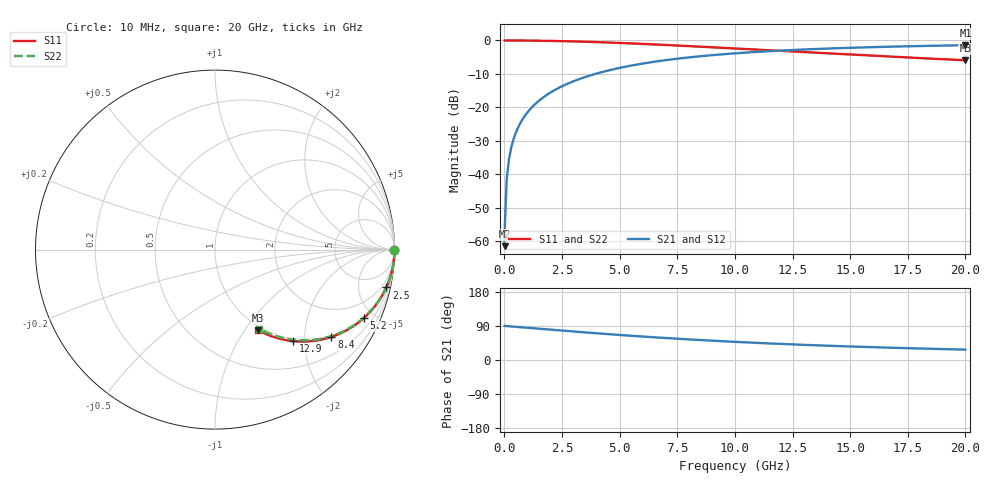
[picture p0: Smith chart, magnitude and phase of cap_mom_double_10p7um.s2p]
#  GHZ S DB R 50
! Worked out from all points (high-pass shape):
!   202 points, 10 MHz to 20 GHz, reference 50 ohm
!   highest |S21| = -1.42 dB at 20 GHz (marker M1); lowest = -61.5 dB at 10 MHz (marker M2)
!   |S21| within 3 dB of the highest: 8.963 GHz to end of sweep
!   lowest |S11| = -5.9 dB at 20 GHz (marker M3), VSWR 3.05, Z = 47.6 - j57.2 ohm
!   |S11| at or under -10 dB: nowhere
!   |S22| runs from -5.9 to 0.0 dB; largest |S21 - S12| = 3.2e-13
!   S11 on the Smith chart (normalised r, x): 10 MHz: open; 2.5 GHz: 0.96, -9.05; 5.2 GHz: 0.95, -4.35; 8.4 GHz: 0.95, -2.70; 12.9 GHz: 0.95, -1.76; 20 GHz: 0.95, -1.14
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0.01  -0.00 -0.1  -61.46 90.0  -61.46 90.0  -0.00 -0.1
0.02  -0.00 -0.1  -55.44 89.9  -55.44 89.9  -0.00 -0.1
0.1  -0.00 -0.5  -41.46 89.5  -41.46 89.5  -0.00 -0.5
0.2  -0.00 -1.0  -35.44 89.0  -35.44 89.0  -0.00 -1.0
0.3  -0.00 -1.5  -31.92 88.5  -31.92 88.5  -0.00 -1.5
0.4  -0.01 -2.0  -29.42 88.0  -29.42 88.0  -0.01 -2.0
0.5  -0.01 -2.5  -27.49 87.5  -27.49 87.5  -0.01 -2.5
0.6  -0.01 -3.0  -25.91 87.0  -25.91 87.0  -0.01 -3.0
0.8  -0.02 -4.1  -23.42 86.0  -23.42 86.0  -0.02 -4.0
1.2  -0.05 -6.1  -19.92 84.0  -19.92 84.0  -0.05 -6.0
1.8  -0.11 -9.1  -16.45 81.0  -16.45 81.0  -0.10 -8.9
2.5  -0.20 -12.5  -13.68 77.6  -13.68 77.6  -0.20 -12.3
3.4  -0.36 -16.8  -11.17 73.3  -11.17 73.3  -0.36 -16.5
4.2  -0.54 -20.4  -9.51 69.6  -9.51 69.6  -0.53 -20.1
5.2  -0.80 -24.8  -7.91 65.2  -7.91 65.2  -0.79 -24.4
6.7  -1.25 -30.8  -6.16 59.1  -6.16 59.1  -1.25 -30.4
8.4  -1.82 -36.9  -4.78 53.0  -4.78 53.0  -1.82 -36.3
10.1  -2.44 -42.2  -3.80 47.6  -3.80 47.6  -2.44 -41.5
12.9  -3.47 -49.5  -2.72 40.2  -2.72 40.2  -3.47 -48.6
13.4  -3.65 -50.6  -2.58 39.1  -2.58 39.1  -3.65 -49.7
16.7  -4.82 -57.1  -1.87 32.5  -1.87 32.5  -4.82 -56.0
20  -5.91 -62.0  -1.42 27.4  -1.42 27.4  -5.90 -60.7
